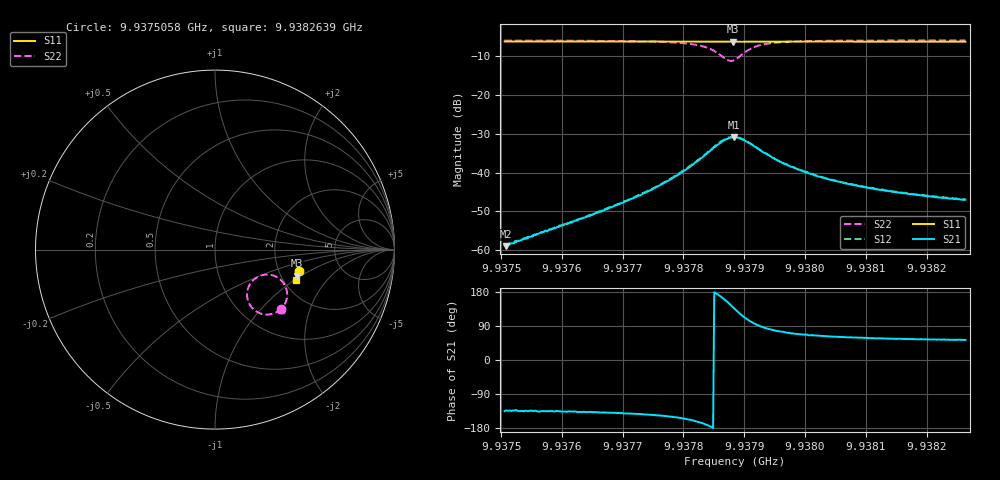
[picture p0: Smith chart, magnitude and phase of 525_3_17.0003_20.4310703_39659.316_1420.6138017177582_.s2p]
#  HZ  S  RI  R  50.00
! Rohde & Schwarz Vector Network Analyzer
! Rohde-Schwarz,ZNB20-2Port,1311601062101988,3.16
! Created: UTC 3/20/2024, 11:15:40 PM
! freq[Hz]  re:S11  im:S11  re:S21  im:S21  re:S12  im:S12  re:S22  im:S22
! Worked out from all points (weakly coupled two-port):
!   401 points, 9.9375058 GHz to 9.9382639 GHz, reference 50 ohm
!   highest |S21| = -30.97 dB at 9.937883 GHz (marker M1); lowest = -58.9 dB at 9.9375077 GHz (marker M2)
!   lowest |S11| = -6.4 dB at 9.9378811 GHz (marker M3), VSWR 2.83, Z = 121 - j45.5 ohm
!   |S11| at or under -10 dB: nowhere
!   |S22| runs from -11.3 to -6.1 dB; largest |S21 - S12| = 0.0012
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9.93750584e9  0.4671 -0.1218  -0.000819 -0.00082  -0.000799 -0.000821  0.37 -0.3308
9.93750773e9  0.467 -0.1221  -0.000776 -0.000827  -0.000818 -0.000835  0.3698 -0.3311
9.93763281e9  0.4641 -0.1305  -0.0019 -0.00173  -0.00191 -0.00176  0.3539 -0.3427
9.93769724e9  0.4625 -0.1348  -0.00312 -0.00256  -0.00316 -0.00256  0.3403 -0.3504
9.93775978e9  0.4608 -0.139  -0.00565 -0.00377  -0.00581 -0.00374  0.3155 -0.3595
9.93779769e9  0.4596 -0.1417  -0.00909 -0.00448  -0.00933 -0.00444  0.2852 -0.3621
9.93783748e9  0.4576 -0.1443  -0.017 -0.00282  -0.0174 -0.00257  0.2222 -0.339
9.93785075e9  0.4567 -0.1448  -0.0211 0.000509  -0.0214 0.000915  0.1945 -0.3079
9.93786402e9  0.4559 -0.1451  -0.0242 0.00678  -0.0245 0.00759  0.1786 -0.2522
9.93787349e9  0.4555 -0.1448  -0.0241 0.0131  -0.0241 0.0141  0.1898 -0.2019
9.93788107e9  0.4552 -0.1447  -0.0216 0.0182  -0.0214 0.0194  0.2167 -0.1661
9.93788297e9  0.4554 -0.1447  -0.0207 0.0193  -0.0203 0.0204  0.2261 -0.1593
9.93788486e9  0.4555 -0.1447  -0.0196 0.0202  -0.0193 0.0212  0.2355 -0.1533
9.93789434e9  0.4558 -0.1448  -0.0138 0.0233  -0.0132 0.0244  0.2867 -0.139
9.9379076e9  0.4566 -0.1455  -0.00603 0.0232  -0.00544 0.0237  0.3456 -0.1535
9.93792845e9  0.4568 -0.1469  0.000687 0.0189  0.000947 0.0189  0.3893 -0.1988
9.93796256e9  0.4567 -0.15  0.00353 0.0128  0.00393 0.013  0.4021 -0.2515
9.93801184e9  0.4554 -0.1538  0.00388 0.00881  0.00416 0.00859  0.3962 -0.2879
9.93806869e9  0.454 -0.1574  0.0036 0.00623  0.00374 0.00624  0.3871 -0.308
9.93813881e9  0.452 -0.1623  0.00318 0.00481  0.00331 0.00479  0.378 -0.3218
9.9382184e9  0.4496 -0.1674  0.00283 0.00385  0.00296 0.00389  0.37 -0.3322
9.93826389e9  0.4485 -0.1704  0.00271 0.00357  0.00274 0.00356  0.3661 -0.3366
